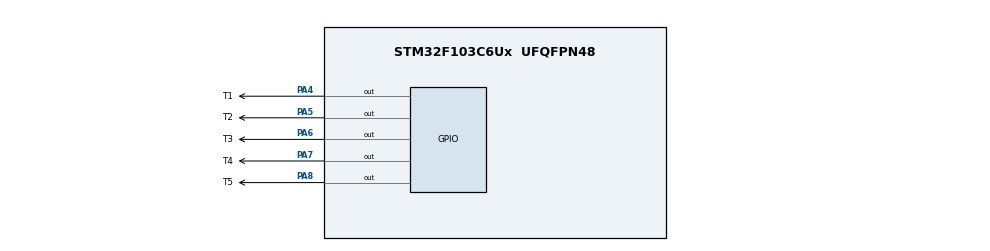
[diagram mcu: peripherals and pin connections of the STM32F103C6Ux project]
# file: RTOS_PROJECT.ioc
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Mcu.Family=STM32F1
Mcu.Name=STM32F103C6Ux
Mcu.Package=UFQFPN48
NVIC.PriorityGroup=NVIC_PRIORITYGROUP_4
NVIC.TIM2_IRQn=true\:0\:0\:false\:false\:true\:true\:true
PA4.GPIO_Label=T1
PA4.Signal=GPIO_Output
PA5.GPIO_Label=T2
PA5.Signal=GPIO_Output
PA6.GPIO_Label=T3
PA6.Signal=GPIO_Output
PA7.GPIO_Label=T4
PA7.Signal=GPIO_Output
PA8.GPIO_Label=T5
PA8.Signal=GPIO_Output
ProjectManager.HeapSize=0x200
ProjectManager.StackSize=0x400
ProjectManager.TargetToolchain=STM32CubeIDE
RCC.APB1Freq_Value=8000000
RCC.APB2Freq_Value=8000000
TIM2.Period=9
TIM2.Prescaler=7999
VP_SYS_VS_ND.Mode=No_Debug
VP_TIM2_VS_ClockSourceINT.Mode=Internal
board=custom

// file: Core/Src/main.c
/* USER CODE BEGIN Header */
/**
  ******************************************************************************
  * @file           : main.c
  * @brief          : Main program body
  ******************************************************************************
  * @attention
  *
  * <h2><center>&copy; Copyright (c) 2024 STMicroelectronics.
  * All rights reserved.</center></h2>
  *
  * This software component is licensed by ST under BSD 3-Clause license,
  * the "License"; You may not use this file except in compliance with the
  * License. You may obtain a copy of the License at:
  *                        opensource.org/licenses/BSD-3-Clause
  *
  ******************************************************************************
  */
/* USER CODE END Header */
#include "main.h"
#include "scheduler.h"
#include "software_timer.h"

TIM_HandleTypeDef htim2;

void SystemClock_Config(void);
static void MX_GPIO_Init(void);
static void MX_TIM2_Init(void);

/* USER CODE BEGIN 0 */

#define INIT 0
#define T1 1
#define T2 2
#define T3 3
#define T4 4
#define T5 5
#define IDLE 6

int status = INIT;

void fsm(){
	switch (status){
		case INIT:
				HAL_GPIO_WritePin(T1_GPIO_Port, T1_Pin, GPIO_PIN_SET);
				HAL_GPIO_WritePin(T2_GPIO_Port, T2_Pin, GPIO_PIN_SET);
				HAL_GPIO_WritePin(T3_GPIO_Port, T3_Pin, GPIO_PIN_SET);
				HAL_GPIO_WritePin(T4_GPIO_Port, T4_Pin, GPIO_PIN_SET);
				HAL_GPIO_WritePin(T5_GPIO_Port, T5_Pin, GPIO_PIN_SET);
				status = T1;
				setTimer(0,500);
				break;
		case T1:
				HAL_GPIO_WritePin(T1_GPIO_Port, T1_Pin, GPIO_PIN_RESET);
				if (isTimerExpired(0) == 1){
					HAL_GPIO_WritePin(T1_GPIO_Port, T1_Pin, GPIO_PIN_SET);
					status = T2;
					setTimer(0, 500);
				}
				break;
		case T2:
				HAL_GPIO_WritePin(T2_GPIO_Port, T2_Pin, GPIO_PIN_RESET);
				if (isTimerExpired(0) == 1){
					HAL_GPIO_WritePin(T2_GPIO_Port, T2_Pin, GPIO_PIN_SET);
					status = T3;
					setTimer(0, 500);
				}
				break;
		case T3:
				HAL_GPIO_WritePin(T3_GPIO_Port, T3_Pin, GPIO_PIN_RESET);
				if (isTimerExpired(0) == 1){
					HAL_GPIO_WritePin(T3_GPIO_Port, T3_Pin, GPIO_PIN_SET);
					status = T4;
					setTimer(0, 1000);
				}
				break;
		case T4:
				HAL_GPIO_WritePin(T4_GPIO_Port, T4_Pin, GPIO_PIN_RESET);
				if (isTimerExpired(0) == 1){
					HAL_GPIO_WritePin(T4_GPIO_Port, T4_Pin, GPIO_PIN_SET);
					status = T5;
					setTimer(0, 3000);
				}
				break;
		case T5:
				HAL_GPIO_WritePin(T5_GPIO_Port, T5_Pin, GPIO_PIN_RESET);
				if (isTimerExpired(0) == 1){
					HAL_GPIO_WritePin(T5_GPIO_Port, T5_Pin, GPIO_PIN_SET);
					status = IDLE;
					setTimer(0, 6000);
				}
				break;
		case IDLE:
				if (isTimerExpired(0) == 1){
					status = T1;
					setTimer(0, 500);
				}
				break;
		}
}
/* USER CODE END 0 */

int main(void)
{

  /* MCU Configuration--------------------------------------------------------*/

  /* Reset of all peripherals, Initializes the Flash interface and the Systick. */
  HAL_Init();

  /* Configure the system clock */
  SystemClock_Config();

  /* Initialize all configured peripherals */
  MX_GPIO_Init();
  MX_TIM2_Init();
  /* USER CODE BEGIN 2 */
  HAL_TIM_Base_Start_IT(&htim2);

  SCH_Add_Task(fsm, 0, 1);
  /* USER CODE END 2 */

  /* Infinite loop */
  /* USER CODE BEGIN WHILE */

  while (1) {
	  SCH_Dispatch_Tasks();

  }
    /* USER CODE END WHILE */

}

void SystemClock_Config(void)
{
  RCC_OscInitTypeDef RCC_OscInitStruct = {0};
  RCC_ClkInitTypeDef RCC_ClkInitStruct = {0};

  /** Initializes the RCC Oscillators according to the specified parameters
  * in the RCC_OscInitTypeDef structure.
  */
  RCC_OscInitStruct.OscillatorType = RCC_OSCILLATORTYPE_HSI;
  RCC_OscInitStruct.HSIState = RCC_HSI_ON;
  RCC_OscInitStruct.HSICalibrationValue = RCC_HSICALIBRATION_DEFAULT;
  RCC_OscInitStruct.PLL.PLLState = RCC_PLL_NONE;
  if (HAL_RCC_OscConfig(&RCC_OscInitStruct) != HAL_OK)
  {
    Error_Handler();
  }
  /** Initializes the CPU, AHB and APB buses clocks
  */
  RCC_ClkInitStruct.ClockType = RCC_CLOCKTYPE_HCLK|RCC_CLOCKTYPE_SYSCLK
                              |RCC_CLOCKTYPE_PCLK1|RCC_CLOCKTYPE_PCLK2;
  RCC_ClkInitStruct.SYSCLKSource = RCC_SYSCLKSOURCE_HSI;
  RCC_ClkInitStruct.AHBCLKDivider = RCC_SYSCLK_DIV1;
  RCC_ClkInitStruct.APB1CLKDivider = RCC_HCLK_DIV1;
  RCC_ClkInitStruct.APB2CLKDivider = RCC_HCLK_DIV1;

  if (HAL_RCC_ClockConfig(&RCC_ClkInitStruct, FLASH_LATENCY_0) != HAL_OK)
  {
    Error_Handler();
  }
}

static void MX_TIM2_Init(void)
{

  TIM_ClockConfigTypeDef sClockSourceConfig = {0};
  TIM_MasterConfigTypeDef sMasterConfig = {0};

  htim2.Instance = TIM2;
  htim2.Init.Prescaler = 7999;
  htim2.Init.CounterMode = TIM_COUNTERMODE_UP;
  htim2.Init.Period = 9;
  htim2.Init.ClockDivision = TIM_CLOCKDIVISION_DIV1;
  htim2.Init.AutoReloadPreload = TIM_AUTORELOAD_PRELOAD_DISABLE;
  if (HAL_TIM_Base_Init(&htim2) != HAL_OK)
  {
    Error_Handler();
  }
  sClockSourceConfig.ClockSource = TIM_CLOCKSOURCE_INTERNAL;
  if (HAL_TIM_ConfigClockSource(&htim2, &sClockSourceConfig) != HAL_OK)
  {
    Error_Handler();
  }
  sMasterConfig.MasterOutputTrigger = TIM_TRGO_RESET;
  sMasterConfig.MasterSlaveMode = TIM_MASTERSLAVEMODE_DISABLE;
  if (HAL_TIMEx_MasterConfigSynchronization(&htim2, &sMasterConfig) != HAL_OK)
  {
    Error_Handler();
  }

}

static void MX_GPIO_Init(void)
{
  GPIO_InitTypeDef GPIO_InitStruct = {0};

  /* GPIO Ports Clock Enable */
  __HAL_RCC_GPIOA_CLK_ENABLE();
x
  /*Configure GPIO pin Output Level */
  HAL_GPIO_WritePin(GPIOA, T1_Pin|T2_Pin|T3_Pin|T4_Pin
                          |T5_Pin, GPIO_PIN_RESET);

  /*Configure GPIO pins : T1_Pin T2_Pin T3_Pin T4_Pin
                           T5_Pin */
  GPIO_InitStruct.Pin = T1_Pin|T2_Pin|T3_Pin|T4_Pin
                          |T5_Pin;
  GPIO_InitStruct.Mode = GPIO_MODE_OUTPUT_PP;
  GPIO_InitStruct.Pull = GPIO_NOPULL;
  GPIO_InitStruct.Speed = GPIO_SPEED_FREQ_LOW;
  HAL_GPIO_Init(GPIOA, &GPIO_InitStruct);

}

/* USER CODE BEGIN 4 */
int counter = 100;
void HAL_TIM_PeriodElapsedCallback ( TIM_HandleTypeDef * htim )
{
	SCH_Update();
	timerRun();
}
/* USER CODE END 4 */

void Error_Handler(void)
{
  __disable_irq();
  while (1)
  {
  }
}

/************************ (C) COPYRIGHT STMicroelectronics *****END OF FILE****/
